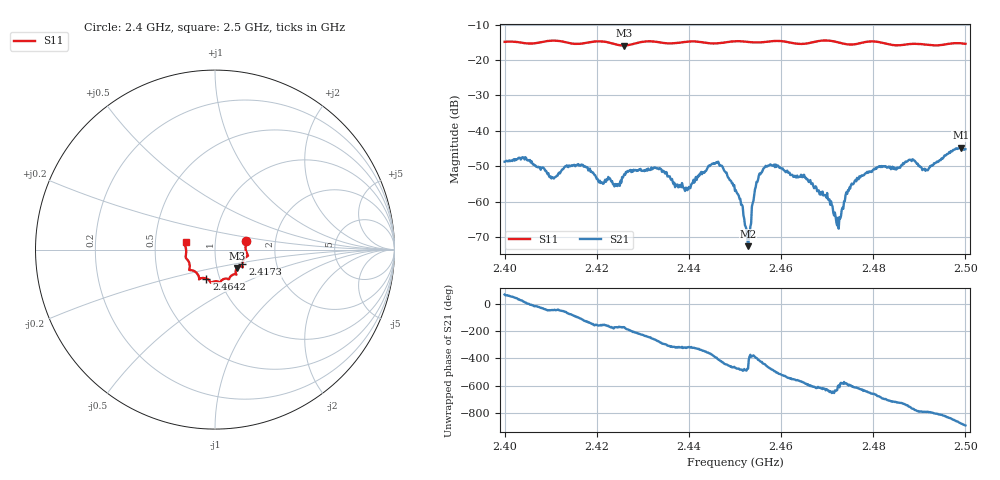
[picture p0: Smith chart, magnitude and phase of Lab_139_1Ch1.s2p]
# Hz S RI R 50
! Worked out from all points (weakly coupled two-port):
!   601 points, 2.4 GHz to 2.5 GHz, reference 50 ohm
!   highest |S21| = -44.73 dB at 2.499 GHz (marker M1); lowest = -72.5 dB at 2.4528 GHz (marker M2)
!   lowest |S11| = -15.9 dB at 2.4258 GHz (marker M3), VSWR 1.38, Z = 62.4 - j13.2 ohm
!   |S11| at or under -10 dB: start of sweep to end of sweep
!   S12 and S22 are empty: the file has one direction only
!   S11 on the Smith chart (normalised r, x): 2.4 GHz: 1.41, +0.14; 2.4173 GHz: 1.34, -0.23; 2.4642 GHz: 0.86, -0.29; 2.5 GHz: 0.72, +0.06
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2.4e9  0.1732 0.0495  0.00148 0.00337  0 0  0 0
2.404333e9  0.1713 0.0226  0.00388 0.000781  0 0  0 0
2.410333e9  0.1842 -0.0334  0.00154 -0.00161  0 0  0 0
2.416667e9  0.153 -0.0741  -0.00128 -0.00311  0 0  0 0
2.417333e9  0.1522 -0.0817  -0.00183 -0.00262  0 0  0 0
2.421e9  0.1547 -0.097  -0.00175 -0.000649  0 0  0 0
2.425833e9  0.1222 -0.1031  -0.0023 -0.000346  0 0  0 0
2.433333e9  0.1135 -0.1372  0.000156 0.00292  0 0  0 0
2.439333e9  0.0798 -0.1615  0.00127 0.000944  0 0  0 0
2.446e9  0.0475 -0.1646  0.00303 -0.002  0 0  0 0
2.45e9  0.0287 -0.1817  -0.000398 -0.00137  0 0  0 0
2.452833e9  0.0184 -0.1787  -9.54e-05 -0.000217  0 0  0 0
2.454667e9  0.00487 -0.1764  0.00153 -0.00113  0 0  0 0
2.456333e9  -0.00905 -0.1788  0.000487 -0.00297  0 0  0 0
2.464167e9  -0.0481 -0.1615  -0.00203 0.00101  0 0  0 0
2.466667e9  -0.0764 -0.1591  -0.000787 0.0016  0 0  0 0
2.4725e9  -0.0896 -0.152  -0.000231 0.000348  0 0  0 0
2.475667e9  -0.1132 -0.1207  -0.000651 0.00165  0 0  0 0
2.483333e9  -0.1405 -0.0895  0.00306 0.000705  0 0  0 0
2.491667e9  -0.1616 -0.0282  0.000981 -0.00264  0 0  0 0
2.499e9  -0.168 0.0372  -0.00517 -0.00263  0 0  0 0
2.5e9  -0.1635 0.0427  -0.00542 -0.0011  0 0  0 0
